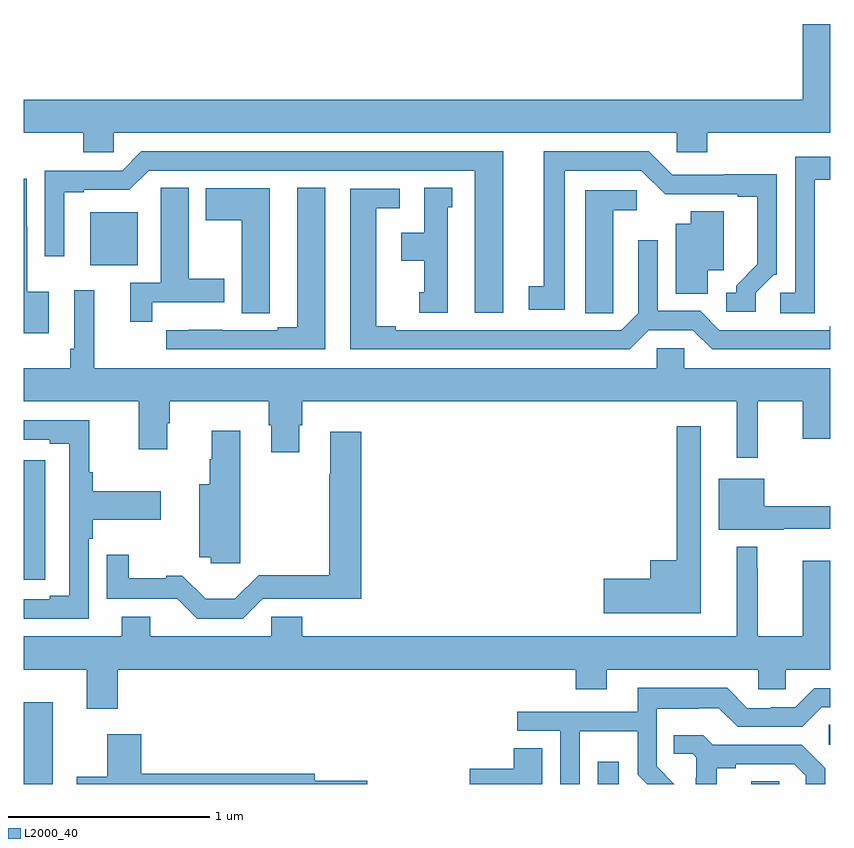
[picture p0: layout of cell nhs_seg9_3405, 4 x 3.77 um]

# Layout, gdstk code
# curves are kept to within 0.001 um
import gdstk
lib = gdstk.Library(unit=1e-6, precision=1e-09)
def R(c, l, rs):  # rectangles x0, y0, x1, y1
    for r in rs: c.add(gdstk.rectangle(r[:2], r[2:], *l))
def P(c, l, *ps):  # polygons
    for p in ps: c.add(gdstk.Polygon(p, *l))
L2000_40 = (2000, 40)

nhs_seg9_3405 = lib.new_cell('nhs_seg9_3405')
R(nhs_seg9_3405, L2000_40, [(305,1214.5,305.143,1214.905), (307.847,1214.5,307.951,1214.611), (308.609,1214.5,308.748,1214.513), (308.994,1214.694,309,1214.795), (305,1215.513,305.107,1216.107), (305.33,1217.075,305.566,1217.338)])
P(nhs_seg9_3405, L2000_40, [(305.445,1217.732),(308.238,1217.732),(308.238,1217.634),(308.39,1217.634),(308.39,1217.732),(309,1217.732),(309,1218.271),(308.864,1218.271),(308.864,1217.896),(305,1217.896),(305,1217.732),(305.294,1217.732),(305.294,1217.634),(305.445,1217.634)],
  [(307.378,1217.64),(305.583,1217.64),(305.487,1217.544),(305.103,1217.544),(305.103,1217.118),(305.2,1217.118),(305.2,1217.436),(305.296,1217.436),(305.296,1217.448),(305.523,1217.448),(305.619,1217.544),(307.238,1217.544),(307.238,1216.839),(307.378,1216.839)],
  [(308.631,1216.938),(308.721,1217.028),(308.736,1217.028),(308.736,1217.525),(308.473,1217.525),(308.473,1217.523),(308.217,1217.523),(308.1,1217.64),(307.58,1217.64),(307.58,1216.97),(307.506,1216.97),(307.506,1216.854),(307.684,1216.854),(307.684,1217.544),(308.064,1217.544),(308.182,1217.426),(308.543,1217.427),(308.543,1217.415),(308.639,1217.415),(308.639,1217.078),(308.534,1216.973),(308.534,1216.938),(308.484,1216.938),(308.484,1216.842),(308.631,1216.842)],
  [(308.923,1217.497),(309,1217.497),(309,1217.613),(308.826,1217.613),(308.826,1216.938),(308.754,1216.938),(308.754,1216.837),(308.923,1216.837)],
  [(305.122,1216.942),(305.016,1216.942),(305.016,1217.267),(305.014,1217.267),(305.014,1217.503),(305,1217.503),(305,1216.736),(305.122,1216.736)],
  [(305.636,1216.89),(305.995,1216.89),(305.995,1217.007),(305.818,1217.007),(305.818,1217.459),(305.679,1217.459),(305.679,1217.348),(305.678,1217.348),(305.678,1216.986),(305.528,1216.986),(305.528,1216.794),(305.636,1216.794)],
  [(307.102,1217.361),(307.126,1217.361),(307.126,1217.459),(306.986,1217.459),(306.986,1217.236),(306.872,1217.236),(306.872,1217.096),(306.986,1217.096),(306.986,1216.941),(306.962,1216.941),(306.962,1216.839),(307.102,1216.839)],
  [(306.496,1217.459),(306.356,1217.459),(306.356,1216.767),(306.26,1216.767),(306.26,1216.752),(305.984,1216.752),(305.984,1216.753),(305.818,1216.753),(305.818,1216.752),(305.706,1216.752),(305.706,1216.656),(306.496,1216.656)],
  [(306.219,1216.945),(306.22,1216.945),(306.22,1217.455),(305.903,1217.455),(305.903,1217.296),(306.08,1217.296),(306.08,1216.837),(306.219,1216.837)],
  [(308.101,1216.752),(308.319,1216.752),(308.415,1216.656),(309,1216.656),(309,1216.772),(308.999,1216.752),(308.451,1216.752),(308.355,1216.848),(308.145,1216.848),(308.145,1217.197),(308.049,1217.197),(308.049,1216.836),(307.965,1216.752),(306.844,1216.752),(306.844,1216.772),(306.748,1216.772),(306.748,1217.358),(306.865,1217.358),(306.865,1217.454),(306.62,1217.454),(306.62,1216.656),(308.005,1216.656)],
  [(307.923,1216.945),(307.924,1216.945),(307.924,1217.348),(308.041,1217.348),(308.041,1217.445),(307.784,1217.445),(307.784,1216.837),(307.923,1216.837)],
  [(308.392,1217.048),(308.473,1217.048),(308.473,1217.342),(308.309,1217.342),(308.309,1217.281),(308.234,1217.281),(308.234,1216.933),(308.392,1216.933)],
  [(308.641,1216.4),(308.864,1216.4),(308.864,1216.212),(309,1216.212),(309,1216.564),(308.277,1216.564),(308.277,1216.662),(308.139,1216.662),(308.139,1216.564),(305.348,1216.564),(305.348,1216.951),(305.25,1216.951),(305.25,1216.66),(305.23,1216.66),(305.23,1216.564),(305,1216.564),(305,1216.4),(305.57,1216.4),(305.57,1216.161),(305.71,1216.161),(305.71,1216.289),(305.723,1216.289),(305.723,1216.4),(306.215,1216.4),(306.215,1216.281),(306.227,1216.281),(306.227,1216.146),(306.367,1216.146),(306.367,1216.281),(306.38,1216.281),(306.38,1216.4),(308.537,1216.4),(308.537,1216.119),(308.641,1216.119)],
  [(305.322,1215.716),(305.342,1215.716),(305.342,1215.812),(305.68,1215.812),(305.68,1215.952),(305.342,1215.952),(305.342,1216.048),(305.325,1216.048),(305.325,1216.305),(305,1216.305),(305,1216.209),(305.129,1216.209),(305.129,1216.189),(305.226,1216.189),(305.226,1215.435),(305.129,1215.435),(305.129,1215.417),(305,1215.417),(305,1215.321),(305.322,1215.321)],
  [(308.359,1216.276),(308.238,1216.276),(308.238,1215.61),(308.108,1215.61),(308.108,1215.518),(307.878,1215.518),(307.878,1215.347),(308.359,1215.347)],
  [(306.073,1216.252),(305.933,1216.252),(305.933,1216.112),(305.921,1216.112),(305.921,1215.988),(305.87,1215.988),(305.87,1215.626),(305.926,1215.626),(305.926,1215.596),(306.073,1215.596)],
  [(306.186,1215.42),(306.674,1215.419),(306.674,1216.249),(306.521,1216.249),(306.521,1216.036),(306.514,1216.036),(306.514,1215.536),(306.164,1215.536),(306.046,1215.418),(305.901,1215.418),(305.786,1215.533),(305.705,1215.533),(305.705,1215.521),(305.521,1215.521),(305.521,1215.637),(305.412,1215.637),(305.412,1215.419),(305.762,1215.419),(305.859,1215.321),(306.087,1215.321)],
  [(308.77,1215.767),(309,1215.767),(309,1215.877),(308.674,1215.877),(308.674,1216.015),(308.447,1216.015),(308.447,1215.761),(308.77,1215.761)],
  [(305.465,1215.068),(307.739,1215.068),(307.739,1214.969),(307.891,1214.969),(307.891,1215.068),(308.643,1215.068),(308.643,1214.97),(308.781,1214.97),(308.781,1215.068),(309,1215.068),(309,1215.607),(308.864,1215.607),(308.864,1215.232),(308.641,1215.232),(308.641,1215.569),(308.639,1215.569),(308.639,1215.676),(308.537,1215.676),(308.537,1215.232),(306.38,1215.232),(306.38,1215.33),(306.228,1215.33),(306.228,1215.232),(305.626,1215.232),(305.626,1215.331),(305.486,1215.331),(305.486,1215.232),(305,1215.232),(305,1215.068),(305.312,1215.068),(305.312,1214.874),(305.465,1214.874)],
  [(307.758,1214.762),(308.046,1214.762),(308.046,1214.546),(308.092,1214.5),(308.228,1214.5),(308.139,1214.589),(308.139,1214.873),(308.348,1214.873),(308.348,1214.877),(308.448,1214.877),(308.541,1214.784),(308.862,1214.784),(308.958,1214.88),(309,1214.88),(309,1214.976),(308.922,1214.976),(308.826,1214.88),(308.706,1214.88),(308.706,1214.877),(308.589,1214.877),(308.489,1214.977),(308.045,1214.977),(308.045,1214.859),(307.449,1214.859),(307.449,1214.763),(307.662,1214.763),(307.662,1214.5),(307.758,1214.5)],
  [(306.703,1214.516),(306.442,1214.516),(306.442,1214.552),(305.582,1214.552),(305.582,1214.746),(305.414,1214.746),(305.414,1214.535),(305.262,1214.535),(305.262,1214.5),(306.703,1214.5)],
  [(308.437,1214.578),(308.533,1214.578),(308.533,1214.598),(308.822,1214.598),(308.879,1214.541),(308.879,1214.5),(308.976,1214.5),(308.976,1214.578),(308.86,1214.694),(308.418,1214.694),(308.37,1214.741),(308.224,1214.741),(308.224,1214.649),(308.319,1214.649),(308.337,1214.631),(308.337,1214.531),(308.333,1214.531),(308.333,1214.5),(308.437,1214.5)],
  [(307.573,1214.678),(307.43,1214.678),(307.43,1214.576),(307.212,1214.576),(307.212,1214.5),(307.573,1214.5)])

lib.write_gds('nhs_seg9_3405.gds')
